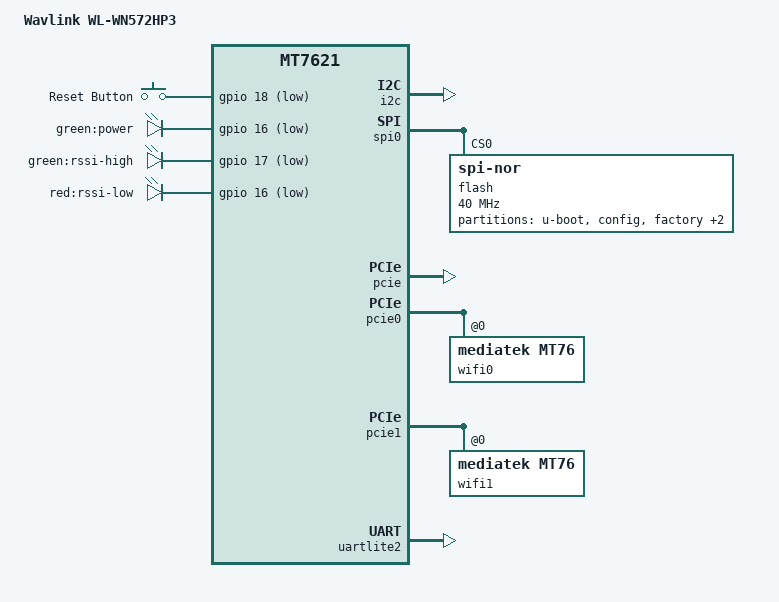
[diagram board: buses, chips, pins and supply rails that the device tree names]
// SPDX-License-Identifier: GPL-2.0-or-later OR MIT

#include "mt7621.dtsi"

#include <dt-bindings/gpio/gpio.h>
#include <dt-bindings/input/input.h>

/ {
	compatible = "wavlink,wl-wn572hp3", "mediatek,mt7621-soc";
	model = "Wavlink WL-WN572HP3";

	aliases {
		led-boot = &led_power;
		led-failsafe = &led_power;
		led-running = &led_power;
		led-upgrade = &led_power;
	};

	chosen {
		bootargs = "console=ttyS0,115200";
	};

	keys {
		compatible = "gpio-keys";
		reset {
			label = "Reset Button";
			gpios = <&gpio 18 GPIO_ACTIVE_LOW>;
			linux,code = <KEY_RESTART>;
		};
	};

	leds {
		compatible = "gpio-leds";
		led_power: power {
			label = "green:power";
			gpios = <&gpio 16 GPIO_ACTIVE_LOW>;
		};

		rssi_high {
			label = "green:rssi-high";
			gpios = <&gpio 17 GPIO_ACTIVE_LOW>;
		};

		rssi_low {
			label = "red:rssi-low";
			gpios = <&gpio 16 GPIO_ACTIVE_LOW>;
		};
	};
};

&i2c {
	status = "okay";
};

&spi0 {
	status = "okay";

	flash@0 {
		compatible = "jedec,spi-nor";
		reg = <0>;
		spi-max-frequency = <40000000>;

		partitions {
			compatible = "fixed-partitions";
			#address-cells = <1>;
			#size-cells = <1>;

			partition@0 {
				label = "u-boot";
				reg = <0x0 0x30000>;
				read-only;
			};

			partition@30000 {
				label = "config";
				reg = <0x30000 0x10000>;
				read-only;
			};

			factory: partition@40000 {
				label = "factory";
				reg = <0x40000 0x10000>;
				read-only;
			};

			partition@50000 {
				compatible = "denx,uimage";
				label = "firmware";
				reg = <0x50000 0xf30000>;
			};

			partition@f00000 {
				label = "vendor";
				reg = <0xf80000 0x80000>;
				read-only;
			};
		};
	};
};

&pcie {
	status = "okay";
};

&pcie0 {
	wifi0: mt76@0,0 {
		compatible = "mediatek,mt76";
		reg = <0x0000 0 0 0 0>;
		mediatek,mtd-eeprom = <&factory 0x0>;
	};
};

&pcie1 {
	wifi1: mt76@0,0 {
		compatible = "mediatek,mt76";
		reg = <0x0000 0 0 0 0>;
		mediatek,mtd-eeprom = <&factory 0x8000>;
	};
};

&ethernet {
	pinctrl-0 = <&mdio_pins>, <&rgmii1_pins>;
};

&gmac0 {
	nvmem-cells = <&macaddr_factory_e000>;
	nvmem-cell-names = "mac-address";
};

&switch0 {
	ports {
		port1: port@1 {
			status = "okay";
		};

		port@4 {
			status = "okay";
			label = "wan";
			nvmem-cells = <&macaddr_factory_e006>;
			nvmem-cell-names = "mac-address";
		};
	};
};

&state_default {
	gpio {
		groups = "rgmii2", "jtag", "wdt";
		function = "gpio";
	};
};

&uartlite2 {
	status = "okay";
};

&factory {
	compatible = "nvmem-cells";
	#address-cells = <1>;
	#size-cells = <1>;

	macaddr_factory_e000: macaddr@e000 {
		reg = <0xe000 0x6>;
	};

	macaddr_factory_e006: macaddr@e006 {
		reg = <0xe006 0x6>;
	};
};

&wifi0{
	ieee80211-freq-limit = <2400000 2500000>;
};

&wifi1{
	ieee80211-freq-limit = <5000000 6000000>;
};

&port1{
	label = "lan1";
};
